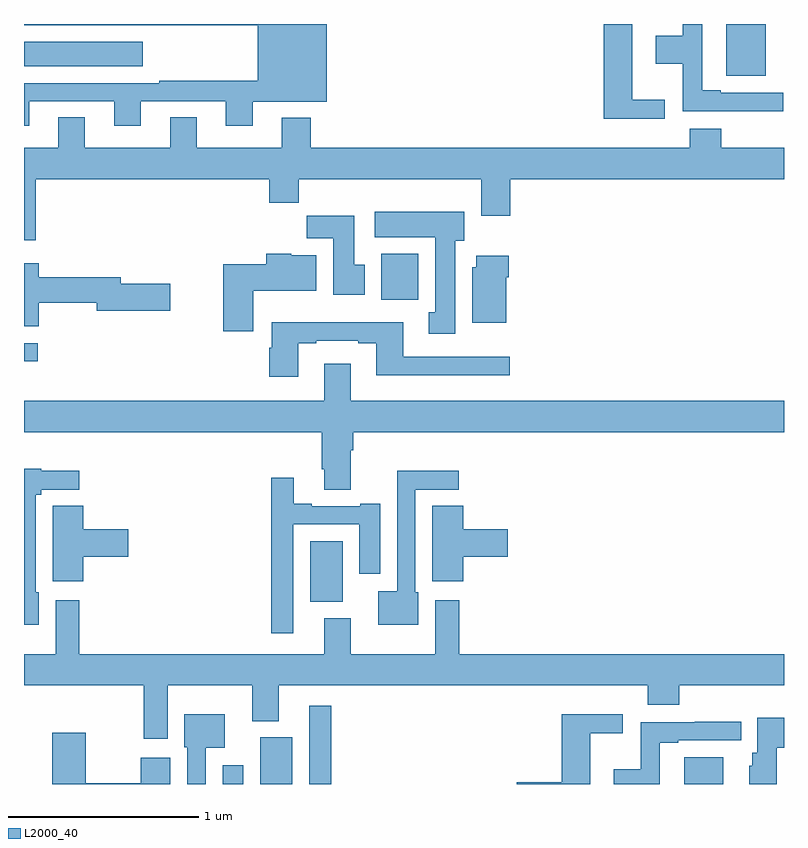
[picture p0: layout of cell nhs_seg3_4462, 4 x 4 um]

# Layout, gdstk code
import gdstk
lib = gdstk.Library(unit=1e-6, precision=1e-09)
def R(c, l, rs):  # rectangles x0, y0, x1, y1
    for r in rs: c.add(gdstk.rectangle(r[:2], r[2:], *l))
def P(c, l, *ps):  # polygons
    for p in ps: c.add(gdstk.Polygon(p, *l))
L2000_40 = (2000, 40)

nhs_seg3_4462 = lib.new_cell('nhs_seg3_4462')
R(nhs_seg3_4462, L2000_40, [(350.045,696.4,350.155,696.499), (350.243,696.4,350.413,696.646), (350.502,696.4,350.618,696.811), (352.475,696.4,352.681,696.541), (350.507,697.358,350.677,697.678), (349,698.625,349.072,698.721), (350.879,698.948,351.076,699.19), (352.697,700.127,352.903,700.4), (349,700.178,349.624,700.306)])
P(nhs_seg3_4462, L2000_40, [(349.027,699.993),(349.475,699.993),(349.475,699.864),(349.615,699.864),(349.615,699.993),(350.063,699.993),(350.063,699.864),(350.203,699.864),(350.203,699.992),(350.593,699.992),(350.593,700.4),(349,700.4),(349,700.394),(350.231,700.394),(350.231,700.102),(349.711,700.102),(349.711,700.089),(349,700.089),(349,699.864),(349.027,699.864)],
  [(352.372,700.001),(352.201,700.001),(352.201,700.4),(352.052,700.4),(352.052,699.902),(352.372,699.902)],
  [(352.996,700.038),(352.666,700.038),(352.666,700.051),(352.569,700.051),(352.569,700.4),(352.468,700.4),(352.468,700.338),(352.326,700.338),(352.326,700.19),(352.468,700.19),(352.468,699.942),(352.753,699.942),(352.753,699.941),(352.996,699.941)],
  [(349.061,699.584),(350.291,699.584),(350.291,699.46),(350.447,699.46),(350.447,699.584),(351.407,699.584),(351.407,699.39),(351.56,699.39),(351.56,699.584),(353,699.584),(353,699.748),(352.67,699.748),(352.67,699.85),(352.505,699.85),(352.505,699.748),(350.51,699.748),(350.51,699.907),(350.357,699.907),(350.357,699.748),(349.909,699.748),(349.909,699.908),(349.769,699.908),(349.769,699.748),(349.321,699.748),(349.321,699.908),(349.181,699.908),(349.181,699.748),(349,699.748),(349,699.261),(349.061,699.261)],
  [(351.271,699.258),(351.316,699.258),(351.316,699.412),(350.847,699.412),(350.847,699.278),(351.164,699.278),(351.164,698.882),(351.131,698.882),(351.131,698.769),(351.271,698.769)],
  [(350.794,699.132),(350.737,699.132),(350.737,699.391),(350.488,699.391),(350.488,699.272),(350.627,699.272),(350.627,698.976),(350.794,698.976)],
  [(350.206,698.996),(350.539,698.996),(350.539,699.184),(350.406,699.184),(350.406,699.19),(350.276,699.19),(350.276,699.136),(350.048,699.136),(350.048,698.784),(350.206,698.784)],
  [(351.538,699.068),(351.551,699.068),(351.551,699.181),(351.38,699.181),(351.38,699.12),(351.359,699.12),(351.359,698.828),(351.538,698.828)],
  [(349.078,698.932),(349.382,698.932),(349.382,698.89),(349.771,698.89),(349.771,699.032),(349.51,699.032),(349.51,699.068),(349.078,699.068),(349.078,699.142),(349,699.142),(349,698.81),(349.078,698.81)],
  [(350.443,698.721),(350.539,698.721),(350.539,698.733),(350.759,698.733),(350.759,698.721),(350.855,698.721),(350.855,698.552),(351.556,698.552),(351.556,698.649),(350.995,698.649),(350.995,698.83),(350.303,698.83),(350.303,698.696),(350.291,698.696),(350.291,698.544),(350.443,698.544)],
  [(350.719,698.156),(350.732,698.156),(350.732,698.252),(353,698.252),(353,698.416),(350.719,698.416),(350.719,698.611),(350.579,698.611),(350.579,698.416),(349,698.416),(349,698.252),(350.567,698.252),(350.567,698.056),(350.579,698.056),(350.579,697.948),(350.719,697.948)],
  [(349.078,697.41),(349.062,697.41),(349.062,697.922),(349.092,697.922),(349.092,697.95),(349.291,697.95),(349.291,698.048),(349.092,698.048),(349.092,698.059),(349,698.059),(349,697.238),(349.078,697.238)],
  [(351.076,697.41),(351.06,697.41),(351.06,697.95),(351.289,697.95),(351.289,698.048),(350.964,698.048),(350.964,697.414),(350.864,697.414),(350.864,697.238),(351.076,697.238)],
  [(350.418,697.767),(350.765,697.767),(350.765,697.506),(350.875,697.506),(350.875,697.876),(350.771,697.876),(350.771,697.863),(350.515,697.863),(350.515,697.876),(350.419,697.876),(350.419,698.011),(350.302,698.011),(350.302,697.194),(350.418,697.194)],
  [(349.313,697.595),(349.549,697.595),(349.549,697.742),(349.313,697.742),(349.313,697.865),(349.151,697.865),(349.151,697.467),(349.313,697.467)],
  [(351.311,697.595),(351.547,697.595),(351.547,697.742),(351.311,697.742),(351.311,697.865),(351.149,697.865),(351.149,697.467),(351.311,697.467)],
  [(349.292,697.366),(349.166,697.366),(349.166,697.084),(349,697.084),(349,696.92),(349.631,696.92),(349.631,696.639),(349.756,696.639),(349.756,696.92),(350.201,696.92),(350.201,696.731),(350.341,696.731),(350.341,696.92),(352.283,696.92),(352.283,696.818),(352.448,696.818),(352.448,696.92),(353,696.92),(353,697.084),(351.29,697.084),(351.29,697.366),(351.164,697.366),(351.164,697.084),(350.719,697.084),(350.719,697.273),(350.579,697.273),(350.579,697.084),(349.292,697.084)],
  [(351.979,696.668),(352.15,696.668),(352.15,696.766),(351.83,696.766),(351.83,696.41),(351.594,696.41),(351.594,696.4),(351.979,696.4)],
  [(349.956,696.59),(350.056,696.59),(350.056,696.766),(349.844,696.766),(349.844,696.594),(349.86,696.594),(349.86,696.4),(349.956,696.4)],
  [(352.963,696.59),(353,696.59),(353,696.748),(352.859,696.748),(352.859,696.564),(352.832,696.564),(352.832,696.495),(352.817,696.495),(352.817,696.4),(352.963,696.4)],
  [(352.347,696.618),(352.444,696.618),(352.444,696.63),(352.774,696.63),(352.774,696.728),(352.531,696.728),(352.531,696.726),(352.246,696.726),(352.246,696.478),(352.104,696.478),(352.104,696.4),(352.347,696.4)],
  [(349.771,696.538),(349.615,696.538),(349.615,696.404),(349.326,696.404),(349.326,696.67),(349.148,696.67),(349.148,696.4),(349.771,696.4)])

lib.write_gds('nhs_seg3_4462.gds')
